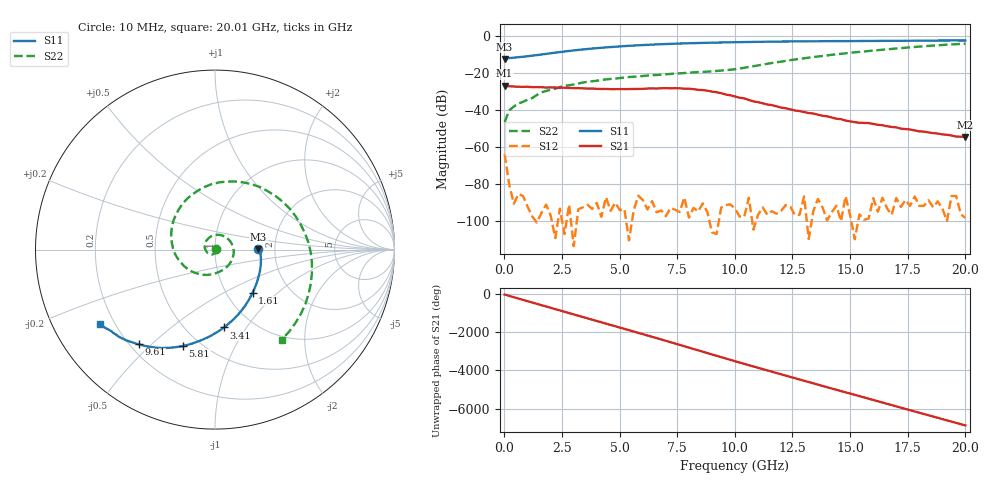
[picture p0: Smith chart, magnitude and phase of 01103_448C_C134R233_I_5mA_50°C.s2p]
!;Filter: kein Filter
!auto
!3/21/2019 9:27:39 AM
!3/21/2019 9:27:53 AM
!SP-Measurements Prober G4
!SP-Measurements Prober G4
!01103_448C
!134
!233
!12
!50
!-20
!0.00499992
!1.96
!0.64375220
!0.64375220
# Hz S  RI  R 50
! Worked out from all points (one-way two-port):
!   101 points, 10 MHz to 20.01 GHz, reference 50 ohm
!   highest |S21| = -26.85 dB at 10 MHz (marker M1); lowest = -54.5 dB at 20.01 GHz (marker M2)
!   lowest |S11| = -12.3 dB at 10 MHz (marker M3), VSWR 1.64, Z = 82 + j0.722 ohm
!   |S11| at or under -10 dB: start of sweep to 1.565 GHz
!   |S22| runs from -46.5 to -4.1 dB; largest |S21 - S12| = 0.045
!   S11 on the Smith chart (normalised r, x): 10 MHz: 1.64, +0.01; 1.61 GHz: 1.32, -0.70; 3.41 GHz: 0.74, -0.79; 5.81 GHz: 0.41, -0.64; 9.61 GHz: 0.23, -0.46; 20.01 GHz: 0.15, -0.29
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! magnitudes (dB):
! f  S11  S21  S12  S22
! 10 MHz  -12.3  -26.8  -63.8  -46.5
! 210 MHz  -11.9  -27.1  -80.3  -40.1
! 610 MHz  -11.4  -27.4  -85.4  -36.4
! 1.21 GHz  -10.6  -27.6  -97.5  -33.5
! 1.61 GHz  -9.9  -27.6  -95.6  -30.4
! 2.61 GHz  -8.3  -27.9  -107.1  -26.9
! 3.41 GHz  -7.2  -28.2  -92.6  -25.1
! 4.41 GHz  -6.1  -28.5  -87.1  -23.4
! 5.81 GHz  -4.9  -28.5  -86.3  -21.9
! 6.81 GHz  -4.4  -28.2  -94.3  -20.8
! 8.21 GHz  -3.8  -28.7  -92.9  -19.6
! 9.21 GHz  -3.5  -30.3  -107.0  -18.8
! 9.61 GHz  -3.4  -31.6  -91.4  -18.4
! 10.01 GHz  -3.3  -32.6  -93.3  -17.9
! 12.01 GHz  -2.9  -38.6  -94.5  -13.8
! 13.41 GHz  -2.8  -41.9  -94.6  -11.3
! 15.01 GHz  -2.7  -46.1  -97.1  -9.0
! 15.41 GHz  -2.6  -46.8  -96.4  -8.5
! 15.81 GHz  -2.6  -47.0  -98.6  -8.1
! 16.81 GHz  -2.5  -49.1  -96.6  -6.9
! 19.61 GHz  -2.3  -54.3  -86.5  -4.3
! 20.01 GHz  -2.4  -54.5  -98.3  -4.1
